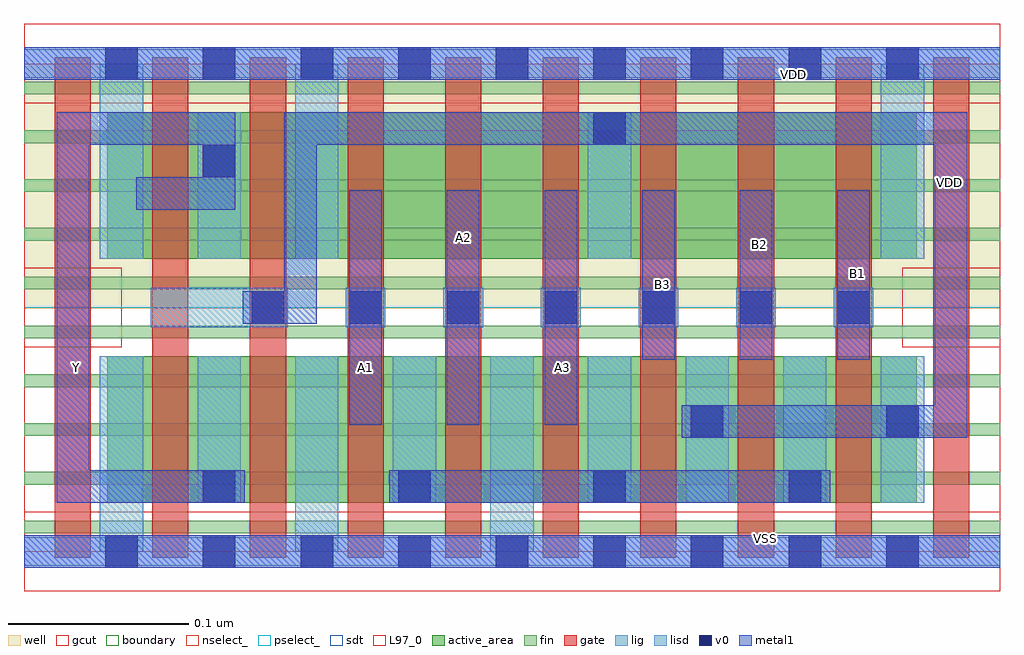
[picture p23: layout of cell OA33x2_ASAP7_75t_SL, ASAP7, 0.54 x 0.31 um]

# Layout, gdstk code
import gdstk
lib = gdstk.Library(unit=1e-6, precision=2.5e-10)
def R(c, l, rs):  # rectangles x0, y0, x1, y1
    for r in rs: c.add(gdstk.rectangle(r[:2], r[2:], *l))
def A(c, l, x, y, w, h, nx, ny, dx, dy):  # array of equal rectangles
    R(c, l, [(x+i*dx, y+j*dy, x+i*dx+w, y+j*dy+h) for i in range(nx) for j in range(ny)])
def P(c, l, *ps):  # polygons
    for p in ps: c.add(gdstk.Polygon(p, *l))
well = (1, 0)
fin = (2, 0)
gate = (7, 0)
gcut = (10, 0)
active_area = (11, 0)
nselect_ = (12, 0)
pselect_ = (13, 0)
lig = (16, 0)
lisd = (17, 0)
v0 = (18, 0)
metal1 = (19, 0)
sdt = (88, 0)
L97_0 = (97, 0)
boundary = (100, 0)

oa33x2_asap7_75t_sl = lib.new_cell('OA33x2_ASAP7_75t_SL')
R(oa33x2_asap7_75t_sl, well, [(0,0.135,0.54,0.27)])
A(oa33x2_asap7_75t_sl, fin, 0, 0.01, 0.54, 0.007, 1, 10, 0, 0.027)
A(oa33x2_asap7_75t_sl, gate, 0.017, -0.0035, 0.02, 0.277, 10, 1, 0.054, 0)
R(oa33x2_asap7_75t_sl, gcut, [(0,-0.022,0.54,0.022), (0,0.113,0.054,0.157), (0.486,0.113,0.54,0.157), (0,0.248,0.54,0.292)])
R(oa33x2_asap7_75t_sl, active_area, [(0.046,0.027,0.494,0.108), (0.046,0.162,0.494,0.243)])
R(oa33x2_asap7_75t_sl, nselect_, [(0,0,0.54,0.135)])
R(oa33x2_asap7_75t_sl, pselect_, [(0,0.135,0.54,0.27)])
A(oa33x2_asap7_75t_sl, lig, 0.178, 0.124, 0.022, 0.022, 6, 1, 0.054, 0)
R(oa33x2_asap7_75t_sl, lig, [(0,-0.008,0.54,0.008), (0.07,0.124,0.146,0.146), (0,0.262,0.54,0.278)])
A(oa33x2_asap7_75t_sl, lisd, 0.042, 0, 0.024, 0.108, 3, 1, 0.108, 0)
A(oa33x2_asap7_75t_sl, lisd, 0.096, 0.027, 0.024, 0.081, 3, 1, 0.108, 0)
A(oa33x2_asap7_75t_sl, lisd, 0.366, 0.027, 0.024, 0.081, 3, 1, 0.054, 0)
R(oa33x2_asap7_75t_sl, lisd, [(0.042,0.162,0.066,0.27), (0.096,0.162,0.12,0.243), (0.15,0.162,0.174,0.27), (0.312,0.162,0.336,0.243), (0.474,0.162,0.498,0.27)])
A(oa33x2_asap7_75t_sl, v0, 0.045, -0.009, 0.018, 0.018, 9, 2, 0.054, 0.27)
A(oa33x2_asap7_75t_sl, v0, 0.099, 0.027, 0.018, 0.018, 4, 1, 0.108, 0)
A(oa33x2_asap7_75t_sl, v0, 0.126, 0.126, 0.018, 0.018, 7, 1, 0.054, 0)
R(oa33x2_asap7_75t_sl, v0, [(0.369,0.063,0.387,0.081), (0.477,0.063,0.495,0.081), (0.099,0.207,0.117,0.225), (0.315,0.225,0.333,0.243)])
A(oa33x2_asap7_75t_sl, metal1, 0.18, 0.07, 0.018, 0.13, 3, 1, 0.054, 0)
A(oa33x2_asap7_75t_sl, metal1, 0.342, 0.106, 0.018, 0.094, 3, 1, 0.054, 0)
R(oa33x2_asap7_75t_sl, metal1, [(0,-0.009,0.54,0.009), (0.202,0.027,0.446,0.045), (0,0.261,0.54,0.279)])
P(oa33x2_asap7_75t_sl, metal1, [(0.522,0.243),(0.144,0.243),(0.144,0.144),(0.121,0.144),(0.121,0.126),(0.162,0.126),(0.162,0.225),(0.504,0.225),(0.504,0.081),(0.364,0.081),(0.364,0.063),(0.522,0.063)],
  [(0.122,0.045),(0.036,0.045),(0.036,0.225),(0.099,0.225),(0.099,0.207),(0.062,0.207),(0.062,0.189),(0.117,0.189),(0.117,0.243),(0.018,0.243),(0.018,0.027),(0.122,0.027)])
A(oa33x2_asap7_75t_sl, sdt, 0.042, 0.027, 0.024, 0.081, 9, 1, 0.054, 0)
A(oa33x2_asap7_75t_sl, sdt, 0.042, 0.162, 0.024, 0.081, 3, 1, 0.054, 0)
R(oa33x2_asap7_75t_sl, sdt, [(0.312,0.162,0.336,0.243), (0.474,0.162,0.498,0.243)])
R(oa33x2_asap7_75t_sl, L97_0, [(0,0,0.54,0.27)])
R(oa33x2_asap7_75t_sl, boundary, [(0,0,0.54,0.27)])
oa33x2_asap7_75t_sl.add(gdstk.Label('B2', (0.407,0.17), layer=19, texttype=251))
oa33x2_asap7_75t_sl.add(gdstk.Label('B1', (0.461,0.154), layer=19, texttype=251))
oa33x2_asap7_75t_sl.add(gdstk.Label('B3', (0.353,0.148), layer=19, texttype=251))
oa33x2_asap7_75t_sl.add(gdstk.Label('VDD', (0.426,0.264), layer=19, texttype=251))
oa33x2_asap7_75t_sl.add(gdstk.Label('VSS', (0.41,0.007), layer=19, texttype=251))
oa33x2_asap7_75t_sl.add(gdstk.Label('A3', (0.298,0.102), layer=19, texttype=251))
oa33x2_asap7_75t_sl.add(gdstk.Label('A2', (0.243,0.174), layer=19, texttype=251))
oa33x2_asap7_75t_sl.add(gdstk.Label('A1', (0.189,0.102), layer=19, texttype=251))
oa33x2_asap7_75t_sl.add(gdstk.Label('Y', (0.029,0.102), layer=19, texttype=251))
oa33x2_asap7_75t_sl.add(gdstk.Label('VSS', (0.581,0.203), layer=3, texttype=251))
oa33x2_asap7_75t_sl.add(gdstk.Label('VDD', (0.512,0.204), layer=1, texttype=251))

lib.write_gds('OA33x2_ASAP7_75t_SL.gds')
